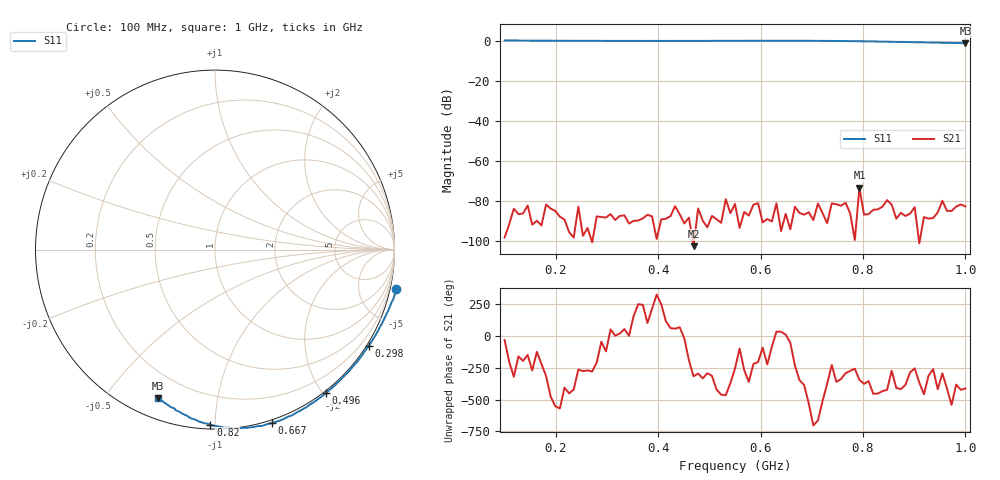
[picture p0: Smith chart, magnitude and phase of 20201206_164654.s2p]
# HZ S RI R 50
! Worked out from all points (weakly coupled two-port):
!   101 points, 100 MHz to 1 GHz, reference 50 ohm
!   highest |S21| = -73.33 dB at 793 MHz (marker M1); lowest = -102.6 dB at 469 MHz (marker M2)
!   lowest |S11| = -1.0 dB at 1 GHz (marker M3), VSWR 16.68, Z = 4.4 - j34.1 ohm
!   |S11| at or under -10 dB: nowhere
!   S12 and S22 are empty: the file has one direction only
!   S11 on the Smith chart (normalised r, x): 100 MHz: -1.33, -9.12; 298 MHz: -0.07, -3.48; 496 MHz: -0.03, -2.04; 667 MHz: -0.03, -1.38; 820 MHz: 0.02, -0.97; 1 GHz: 0.09, -0.68
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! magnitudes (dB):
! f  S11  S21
! 100 MHz  0.3  -98.2
! 253 MHz  0.1  -97.4
! 298 MHz  0.1  -88.2
! 406 MHz  0.1  -89.1
! 469 MHz  0.1  -102.6
! 496 MHz  0.1  -93.2
! 523 MHz  0.1  -90.9
! 532 MHz  0.1  -79.1
! 541 MHz  0.1  -86.1
! 550 MHz  0.1  -81.5
! 667 MHz  0.2  -82.9
! 703 MHz  0.1  -89.5
! 784 MHz  -0.1  -99.5
! 793 MHz  -0.1  -73.3
! 802 MHz  -0.1  -86.8
! 820 MHz  -0.2  -84.4
! 838 MHz  -0.3  -82.8
! 847 MHz  -0.3  -79.6
! 856 MHz  -0.4  -81.8
! 946 MHz  -0.8  -85.7
! 955 MHz  -0.8  -79.9
! 1 GHz  -1.0  -82.7
